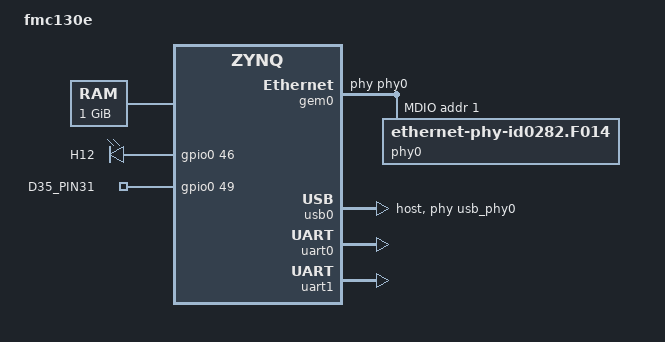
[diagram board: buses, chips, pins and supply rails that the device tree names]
/include/ "zynq.dtsi"

/ {
        model = "fmc130e";
        aliases {
                serial0 = &uart0;
                ethernet0 = &gem0;
        };
        chosen {
                bootargs = "console=ttyPS0,115200 earlyprintk root=/dev/nfs nfsroot=192.168.0.158:/tftpboot/nfsroot-fmc130e-ad9371, tcp ip=dhcp rw";
                stdout-path = "serial0:115200ns";
        };
        memory {
                device_type = "memory";
                reg = <0x0 0x40000000>;
        };

        leds {
                compatible = "gpio-leds";

                H12 {
                        label = "H12";
                        gpios = <&gpio0 46 0>;
                        linux,default-trigger = "heartbeat";
                };

                D35_PIN31 {
                    gpios = <&gpio0 49 0>;
                    default-state = "off";
                };
        };

        zdev_instance: zdev@40000000 {
            status = "disabled";
            compatible = "insys,lzynq";
            #address-cells = <1>;
            #size-cells = <1>;
            reg = <0x40000000 0x80000 0x40080000 0x80000>;
            interrupt-parent = <&intc>;
            interrupts = <1 45 4>; // Actually - 61. 61-16 = 45
        };

        usb_phy0: phy0@e0002000 {
                compatible = "ulpi-phy";
                #phy-cells = <0>;
                reg = <0xe0002000 0x1000>;
                view-port = <0x0170>;
                drv-vbus;
        };

        fpga_axi: fpga-axi@0 {
                compatible = "simple-bus";
                #address-cells = <0x1>;
                #size-cells = <0x1>;
                ranges;
        };

};

&gem0 {
    phy-handle = <&phy0>;
    ps7_ethernet_0_mdio: mdio {
        phy0: phy@1 {
            compatible = "ethernet-phy-id0282.F014";
            device_type = "ethernet-phy";
            reg = <1>;
        };
    };
};

&usb0 {
    status = "okay";
    usb-phy = <&usb_phy0>;
    phy_type = "ulpi";
    dr_mode = "host";
};

&uart0 {
    status = "okay";
};

&uart1 {
    status = "okay";
};

